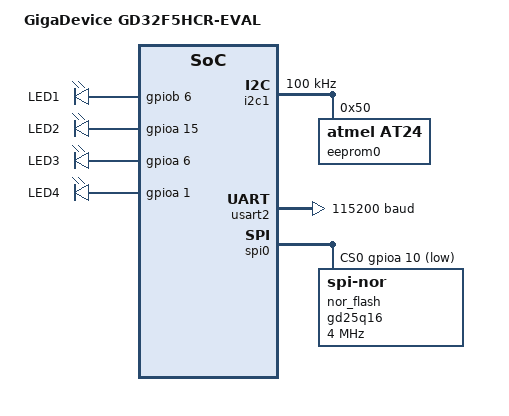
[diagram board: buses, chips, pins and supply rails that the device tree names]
/*
 * Copyright (c) 2026 GigaDevice Semiconductor Inc.
 *
 * SPDX-License-Identifier: Apache-2.0
 */

/dts-v1/;

#include <gd/gd32w51x_f5hc/gd32f5hcri.dtsi>
#include <zephyr/dt-bindings/dma/gd32_dma.h>
#include "gd32f5hcr_eval-pinctrl.dtsi"

/ {
	model = "GigaDevice GD32F5HCR-EVAL";
	compatible = "gd,gd32f5hcr-eval";

	chosen {
		zephyr,flash = &flash0;
		zephyr,sram = &sram0;
		zephyr,console = &usart2;
		zephyr,shell-uart = &usart2;
	};

	leds {
		compatible = "gpio-leds";

		led1: led_1 {
			gpios = <&gpiob 6 GPIO_ACTIVE_HIGH>;
			label = "LED1";
		};

		led2: led_2 {
			gpios = <&gpioa 15 GPIO_ACTIVE_HIGH>;
			label = "LED2";
		};

		led3: led_3 {
			gpios = <&gpioa 6 GPIO_ACTIVE_HIGH>;
			label = "LED3";
		};

		led4: led_4 {
			gpios = <&gpioa 1 GPIO_ACTIVE_HIGH>;
			label = "LED4";
		};
	};

	aliases {
		led0 = &led1;
		led1 = &led2;
		led2 = &led3;
		led3 = &led4;
		eeprom-0 = &eeprom0;
	};
};

&gpioa {
	status = "okay";
};

&gpiob {
	status = "okay";
};

&gpiod {
	status = "okay";
};

&dma0 {
	status = "okay";
};

&dma1 {
	status = "okay";
};

&i2c1 {
	status = "okay";
	pinctrl-0 = <&i2c1_default>;
	pinctrl-names = "default";
	clock-frequency = <100000>;
	dmas = <&dma0 7 7 (GD32_DMA_PERIPH_TX | GD32_DMA_PRIORITY_HIGH) 0>,
	       <&dma0 3 7 (GD32_DMA_PERIPH_RX | GD32_DMA_PRIORITY_HIGH) 0>;
	dma-names = "tx", "rx";

	eeprom0: eeprom@50 {
		compatible = "atmel,at24";
		reg = <0x50>;
		status = "okay";
		size = <256>;
		pagesize = <8>;
		address-width = <8>;
		timeout = <5>;
	};
};

&usart2 {
	status = "okay";
	current-speed = <115200>;
	pinctrl-0 = <&usart2_default>;
	pinctrl-names = "default";
	dmas = <&dma0 1 4 (GD32_DMA_PERIPH_RX | GD32_DMA_PRIORITY_HIGH) 0>,
	       <&dma0 4 7 (GD32_DMA_PERIPH_TX | GD32_DMA_PRIORITY_HIGH) 0>;
	dma-names = "rx", "tx";
};

&spi0 {
	status = "okay";
	pinctrl-0 = <&spi0_default>;
	pinctrl-names = "default";
	cs-gpios = <&gpioa 10 GPIO_ACTIVE_LOW>;
	dmas = <&dma1 2 3 (GD32_DMA_PERIPH_RX | GD32_DMA_PRIORITY_HIGH) 0>,
	       <&dma1 5 3 (GD32_DMA_PERIPH_TX | GD32_DMA_PRIORITY_HIGH) 0>;
	dma-names = "rx", "tx";

	nor_flash: gd25q16@0 {
		compatible = "jedec,spi-nor";
		size = <0x1000000>;
		reg = <0>;
		spi-max-frequency = <4000000>;
		status = "okay";
		jedec-id = [c8 40 15];
	};
};
